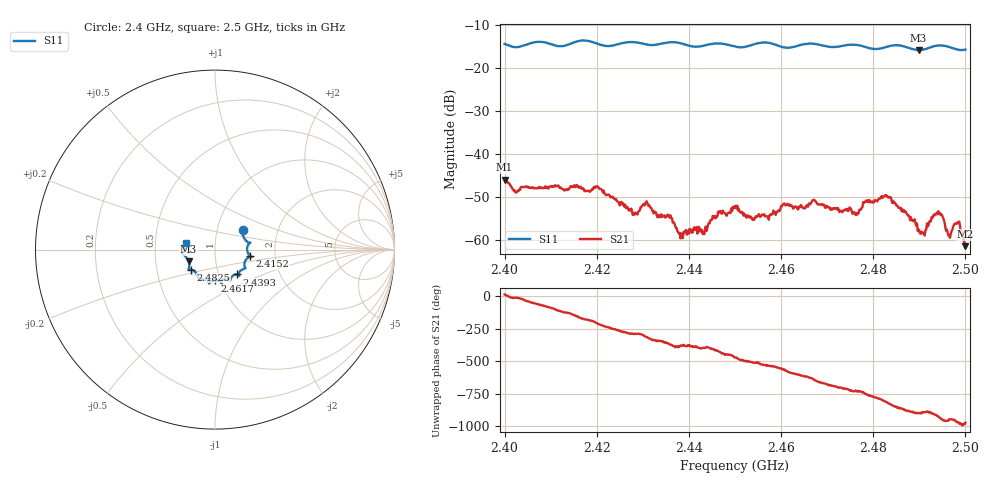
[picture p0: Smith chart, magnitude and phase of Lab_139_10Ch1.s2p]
# Hz S RI R 50
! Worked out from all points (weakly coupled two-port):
!   601 points, 2.4 GHz to 2.5 GHz, reference 50 ohm
!   highest |S21| = -46.02 dB at 2.4 GHz (marker M1); lowest = -61.5 dB at 2.5 GHz (marker M2)
!   lowest |S11| = -15.9 dB at 2.4898 GHz (marker M3), VSWR 1.38, Z = 36.9 - j4.88 ohm
!   |S11| at or under -10 dB: start of sweep to end of sweep
!   S12 and S22 are empty: the file has one direction only
!   S11 on the Smith chart (normalised r, x): 2.4 GHz: 1.33, +0.30; 2.4152 GHz: 1.48, -0.11; 2.4393 GHz: 1.23, -0.35; 2.4617 GHz: 0.94, -0.33; 2.4825 GHz: 0.75, -0.17; 2.5 GHz: 0.72, +0.05
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2.4e9  0.1552 0.1098  0.00491 0.000925  0 0  0 0
2.4025e9  0.16 0.069  0.00345 -0.00086  0 0  0 0
2.415167e9  0.1955 -0.0361  -0.00366 -0.00232  0 0  0 0
2.416667e9  0.2038 -0.0416  -0.00394 -0.000525  0 0  0 0
2.4205e9  0.1826 -0.0465  -0.00319 0.00246  0 0  0 0
2.428333e9  0.1692 -0.1044  0.00069 0.00196  0 0  0 0
2.431e9  0.1468 -0.1145  0.00201 0.00174  0 0  0 0
2.433333e9  0.133 -0.1331  0.00186 0.000585  0 0  0 0
2.439333e9  0.1239 -0.1384  0.00119 -0.000544  0 0  0 0
2.4435e9  0.088 -0.1603  0.00106 -0.000841  0 0  0 0
2.45e9  0.0663 -0.1643  -0.000907 -0.00219  0 0  0 0
2.454167e9  0.0349 -0.1853  -0.00152 -0.000793  0 0  0 0
2.461667e9  0.00105 -0.1717  -0.00178 0.00176  0 0  0 0
2.466667e9  -0.0333 -0.1888  0.000125 0.00278  0 0  0 0
2.476333e9  -0.0944 -0.1595  0.00203 -0.000317  0 0  0 0
2.4825e9  -0.1328 -0.1112  0.0001 -0.00329  0 0  0 0
2.483333e9  -0.1401 -0.1104  -0.000775 -0.00308  0 0  0 0
2.489833e9  -0.1475 -0.0645  -0.00133 -5.25e-05  0 0  0 0
2.4945e9  -0.1811 -0.0223  -0.0017 0.00114  0 0  0 0
2.496333e9  -0.1757 -0.0153  -0.000602 0.000942  0 0  0 0
2.498333e9  -0.1631 0.00673  -0.000589 0.00149  0 0  0 0
2.5e9  -0.1595 0.035  -0.000254 0.000807  0 0  0 0
